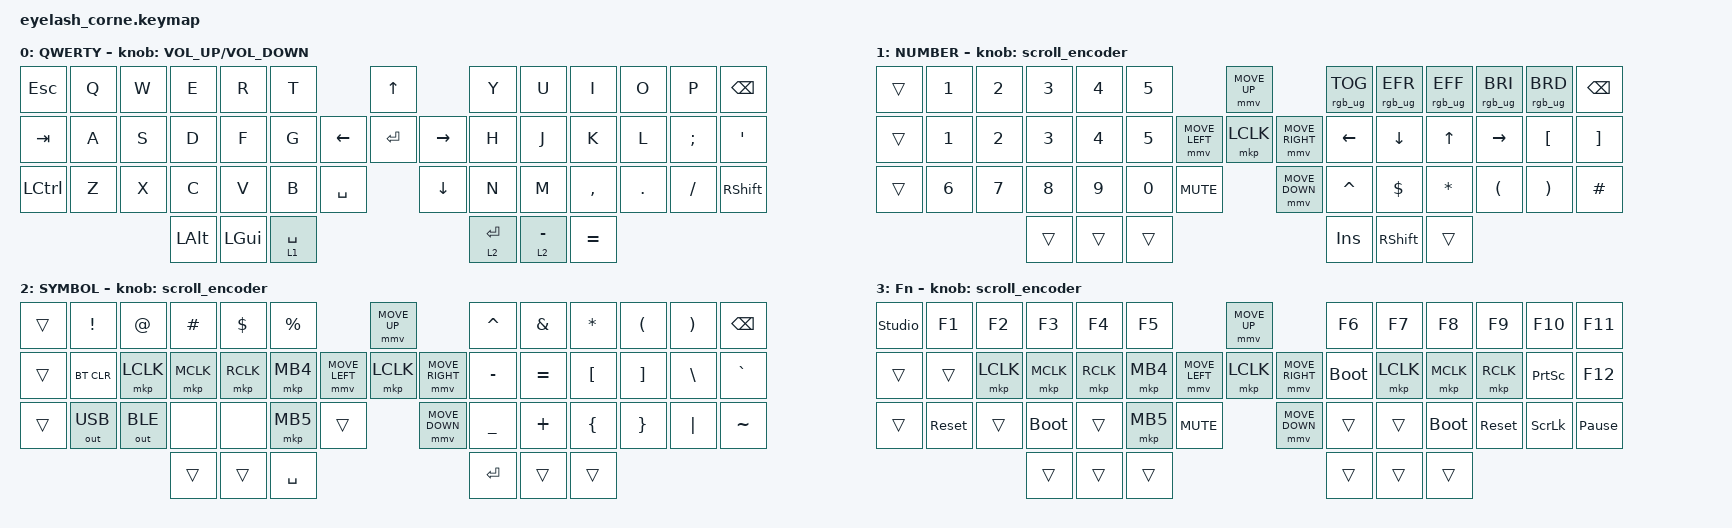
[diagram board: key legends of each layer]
#include <input/processors.dtsi>
#include <behaviors.dtsi>
#include <dt-bindings/zmk/bt.h>
#include <dt-bindings/zmk/keys.h>
#include <dt-bindings/zmk/mouse.h>
#include <dt-bindings/zmk/outputs.h>
#include <dt-bindings/zmk/rgb.h>

/*

   &mmv_input_listener {
       input-processors = <&zip_xy_scaler 2 1>;
   };

   &msc_input_listener {
       input-processors = <&zip_xy_scaler 2 1>;
   };

 */

#define ZMK_MOUSE_DEFAULT_MOVE_VAL 1200  // 600
#define ZMK_MOUSE_DEFAULT_SCRL_VAL 20    // 10

/ {
    behaviors {
        td0: td0 {
            compatible = "zmk,behavior-tap-dance";
            display-name = "Shift/Caps Lock Tap Dance";
            #binding-cells = <0>;
            bindings = <&kp LEFT_SHIFT>, <&kp CAPS>;
        };
    };

    rgb_encoder: rgb_encoder {
        compatible = "zmk,behavior-sensor-rotate";
        #sensor-binding-cells = <0>;
        bindings = <&rgb_ug RGB_BRI>, <&rgb_ug RGB_BRD>;
    };

    scroll_encoder: scroll_encoder {
        compatible = "zmk,behavior-sensor-rotate";
        #sensor-binding-cells = <0>;
        bindings = <&msc SCRL_DOWN>, <&msc SCRL_UP>;

        tap-ms = <30>;
    };

    keymap {
        compatible = "zmk,keymap";

        default_layer {
            display-name = "QWERTY";
            bindings = <
&kp ESCAPE  &kp Q  &kp W  &kp E         &kp R     &kp T                               &kp UP                &kp Y        &kp U        &kp I      &kp O    &kp P     &kp BSPC
&kp TAB     &kp A  &kp S  &kp D         &kp F     &kp G                     &kp LEFT  &kp ENTER  &kp RIGHT  &kp H        &kp J        &kp K      &kp L    &kp SEMI  &kp SQT
&kp LCTRL   &kp Z  &kp X  &kp C         &kp V     &kp B        &kp SPACE              &kp DOWN              &kp N        &kp M        &kp COMMA  &kp DOT  &kp FSLH  &kp RIGHT_SHIFT
                          &kp LEFT_ALT  &kp LGUI  &lt 1 SPACE                                               &lt 2 ENTER  &lt 2 MINUS  &kp EQUAL
            >;

            sensor-bindings = <&inc_dec_kp C_VOLUME_UP C_VOLUME_DOWN>;
        };

        lower_layer {
            display-name = "NUMBER";
            bindings = <
&trans  &kp N1        &kp N2        &kp N3        &kp N4        &kp N5                                &mmv MOVE_UP                     &rgb_ug RGB_TOG  &rgb_ug RGB_EFR  &rgb_ug RGB_EFF  &rgb_ug RGB_BRI  &rgb_ug RGB_BRD  &kp BSPC
&trans  &kp NUMBER_1  &kp NUMBER_2  &kp NUMBER_3  &kp NUMBER_4  &kp N5                &mmv MOVE_LEFT  &mkp LCLK       &mmv MOVE_RIGHT  &kp LEFT         &kp DOWN         &kp UP           &kp RIGHT        &kp LBKT         &kp RBKT
&trans  &kp NUMBER_6  &kp N7        &kp N8        &kp N9        &kp N0  &kp C_MUTE                    &mmv MOVE_DOWN                   &kp CARET        &kp DOLLAR       &kp ASTERISK     &kp LPAR         &kp RPAR         &kp POUND
                                    &trans        &trans        &trans                                                                 &kp INS          &kp RIGHT_SHIFT  &trans
            >;

            sensor-bindings = <&scroll_encoder>;
        };

        raise_layer {
            display-name = "SYMBOL";
            bindings = <
&trans  &kp EXCL      &kp AT        &kp HASH   &kp DLLR   &kp PRCNT                            &mmv MOVE_UP                     &kp CARET  &kp AMPS   &kp ASTRK  &kp LPAR  &kp RPAR  &kp BSPC
&trans  &bt BT_CLR    &mkp LCLK     &mkp MCLK  &mkp RCLK  &mkp MB4             &mmv MOVE_LEFT  &mkp LCLK       &mmv MOVE_RIGHT  &kp MINUS  &kp EQUAL  &kp LBKT   &kp RBKT  &kp BSLH  &kp GRAVE
&trans  &out OUT_USB  &out OUT_BLE  &none      &none      &mkp MB5   &trans                    &mmv MOVE_DOWN                   &kp UNDER  &kp PLUS   &kp LBRC   &kp RBRC  &kp PIPE  &kp TILDE
                                    &trans     &trans     &kp SPACE                                                             &kp RET    &trans     &trans
            >;

            sensor-bindings = <&scroll_encoder>;
        };

        layer_3 {
            display-name = "Fn";
            bindings = <
&studio_unlock  &kp F1      &kp F2     &kp F3       &kp F4     &kp F5                                  &mmv MOVE_UP                     &kp F6       &kp F7     &kp F8       &kp F9      &kp F10          &kp F11
&trans          &trans      &mkp LCLK  &mkp MCLK    &mkp RCLK  &mkp MB4                &mmv MOVE_LEFT  &mkp LCLK       &mmv MOVE_RIGHT  &bootloader  &mkp LCLK  &mkp MCLK    &mkp RCLK   &kp PRINTSCREEN  &kp F12
&trans          &sys_reset  &trans     &bootloader  &trans     &mkp MB5  &kp C_MUTE                    &mmv MOVE_DOWN                   &trans       &trans     &bootloader  &sys_reset  &kp SCROLLLOCK   &kp PAUSE_BREAK
                                       &trans       &trans     &trans                                                                   &trans       &trans     &trans
            >;

            sensor-bindings = <&scroll_encoder>;
        };
    };
};
